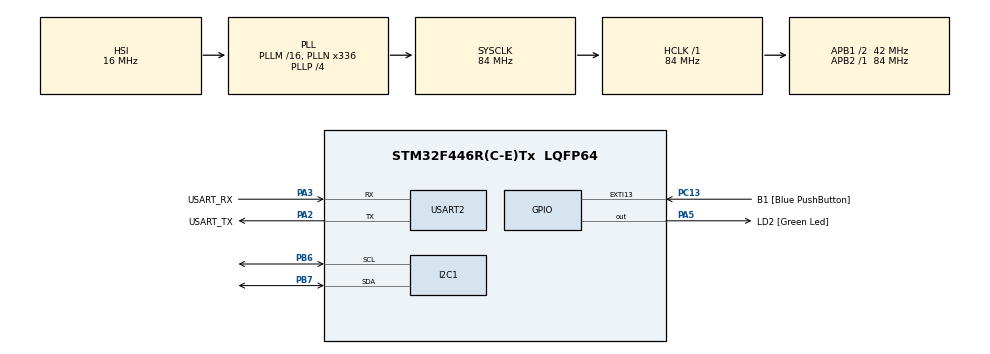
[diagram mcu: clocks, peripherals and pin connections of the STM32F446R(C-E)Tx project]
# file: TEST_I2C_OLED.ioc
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I2C1.I2C_Mode=I2C_Fast
Mcu.Family=STM32F4
Mcu.Name=STM32F446R(C-E)Tx
Mcu.Package=LQFP64
NVIC.PriorityGroup=NVIC_PRIORITYGROUP_0
PA13.GPIO_Label=TMS
PA13.Mode=Serial_Wire
PA13.Signal=SYS_JTMS-SWDIO
PA14.GPIO_Label=TCK
PA14.Mode=Serial_Wire
PA14.Signal=SYS_JTCK-SWCLK
PA2.GPIO_Label=USART_TX
PA2.Mode=Asynchronous
PA2.Signal=USART2_TX
PA3.GPIO_Label=USART_RX
PA3.Mode=Asynchronous
PA3.Signal=USART2_RX
PA5.GPIO_Label=LD2 [Green Led]
PA5.Signal=GPIO_Output
PB3.GPIO_Label=SWO
PB3.Signal=SYS_JTDO-SWO
PB6.Mode=I2C
PB6.Signal=I2C1_SCL
PB7.Mode=I2C
PB7.Signal=I2C1_SDA
PC13.GPIO_Label=B1 [Blue PushButton]
PC13.GPIO_ModeDefaultEXTI=GPIO_MODE_IT_FALLING
PC13.Signal=GPXTI13
PC14-OSC32_IN.Mode=LSE-External-Oscillator
PC14-OSC32_IN.Signal=RCC_OSC32_IN
PC15-OSC32_OUT.Mode=LSE-External-Oscillator
PC15-OSC32_OUT.Signal=RCC_OSC32_OUT
PH0-OSC_IN.Mode=HSE-External-Oscillator
PH0-OSC_IN.Signal=RCC_OSC_IN
PH1-OSC_OUT.Mode=HSE-External-Oscillator
PH1-OSC_OUT.Signal=RCC_OSC_OUT
ProjectManager.HeapSize=0x200
ProjectManager.StackSize=0x400
ProjectManager.TargetToolchain=STM32CubeIDE
RCC.48MHZClocksFreq_Value=84000000
RCC.AHBFreq_Value=84000000
RCC.APB1CLKDivider=RCC_HCLK_DIV2
RCC.APB1Freq_Value=42000000
RCC.APB1TimFreq_Value=84000000
RCC.APB2Freq_Value=84000000
RCC.APB2TimFreq_Value=84000000
RCC.CortexFreq_Value=84000000
RCC.FLatency-AdvancedSettings=FLASH_LATENCY_2
RCC.HCLKFreq_Value=84000000
RCC.HSE_VALUE=8000000
RCC.HSI_VALUE=16000000
RCC.PLLN=336
RCC.PLLP=RCC_PLLP_DIV4
RCC.SYSCLKFreq_VALUE=84000000
RCC.SYSCLKSource=RCC_SYSCLKSOURCE_PLLCLK
RCC.USBFreq_Value=168000000
RCC.VCOOutputFreq_Value=336000000
USART2.VirtualMode=VM_ASYNC
board=NUCLEO-F446RE

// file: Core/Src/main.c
/* USER CODE BEGIN Header */
/**
  ******************************************************************************
  * @file           : main.c
  * @brief          : Main program body
  ******************************************************************************
  * @attention
  *
  * Copyright (c) 2023 STMicroelectronics.
  * All rights reserved.
  *
  * This software is licensed under terms that can be found in the LICENSE file
  * in the root directory of this software component.
  * If no LICENSE file comes with this software, it is provided AS-IS.
  *
  ******************************************************************************
  */
/* USER CODE END Header */
#include "main.h"

/* USER CODE BEGIN Includes */
#include "fonts.h"
#include "ssd1306.h"
/* USER CODE END Includes */

I2C_HandleTypeDef hi2c1;

UART_HandleTypeDef huart2;

void SystemClock_Config(void);
static void MX_GPIO_Init(void);
static void MX_USART2_UART_Init(void);
static void MX_I2C1_Init(void);

int main(void)
{

  /* MCU Configuration--------------------------------------------------------*/

  /* Reset of all peripherals, Initializes the Flash interface and the Systick. */
  HAL_Init();

  /* Configure the system clock */
  SystemClock_Config();

  /* Initialize all configured peripherals */
  MX_GPIO_Init();
  MX_USART2_UART_Init();
  MX_I2C1_Init();
  /* USER CODE BEGIN 2 */
    SSD1306_Init();
	char snum[5];

	SSD1306_GotoXY (0,0);
	SSD1306_Puts ("ADC Value :", &Font_7x10, 1);
	SSD1306_GotoXY (95,0);
	SSD1306_Puts ("0567", &Font_7x10, 1);
	SSD1306_GotoXY (0, 15);
	SSD1306_Puts ("Led 1 ON ", &Font_7x10, 1);
	SSD1306_UpdateScreen();
	HAL_Delay (5000);
	SSD1306_Clear();
	SSD1306_DrawPixel(30, 30, 1);
	HAL_Delay (5000);

//	SSD1306_ScrollRight(0,30);
//	HAL_Delay(5000);
//	SSD1306_ScrollLeft(0,30);
//	HAL_Delay(5000);
//	SSD1306_Stopscroll();
//	HAL_Delay(5000);
//	SSD1306_Clear();
//	SSD1306_GotoXY (15,0);
//	SSD1306_Puts ("SCORE", &Font_16x26, 1);

  /* USER CODE END 2 */

  /* Infinite loop */
  /* USER CODE BEGIN WHILE */
  while (1)
  {

//	  for ( int x = 1; x <= 10000 ; x++ )
//	  	{
//	  		itoa(x, snum, 10);
//	  		SSD1306_GotoXY (0, 30);
//	  		SSD1306_Puts ("             ", &Font_16x26, 1);
//	  		SSD1306_UpdateScreen();
//	  		if(x < 10) {
//	  			SSD1306_GotoXY (53, 30);  // 1 DIGIT
//	  		}
//	  		else if (x < 100 ) {
//	  			SSD1306_GotoXY (45, 30);  // 2 DIGITS
//	  		}
//	  		else if (x < 1000 ) {
//	  			SSD1306_GotoXY (37, 30);  // 3 DIGITS
//	  		}
//	  		else {
//	  			SSD1306_GotoXY (30, 30);  // 4 DIGIS
//	  		}
//	  		SSD1306_Puts (snum, &Font_16x26, 1);
//	  		SSD1306_UpdateScreen();
//	  		HAL_Delay (500);
//	  	    }

    /* USER CODE END WHILE */

  }
}

void SystemClock_Config(void)
{
  RCC_OscInitTypeDef RCC_OscInitStruct = {0};
  RCC_ClkInitTypeDef RCC_ClkInitStruct = {0};

  /** Configure the main internal regulator output voltage
  */
  __HAL_RCC_PWR_CLK_ENABLE();
  __HAL_PWR_VOLTAGESCALING_CONFIG(PWR_REGULATOR_VOLTAGE_SCALE3);

  /** Initializes the RCC Oscillators according to the specified parameters
  * in the RCC_OscInitTypeDef structure.
  */
  RCC_OscInitStruct.OscillatorType = RCC_OSCILLATORTYPE_HSI;
  RCC_OscInitStruct.HSIState = RCC_HSI_ON;
  RCC_OscInitStruct.HSICalibrationValue = RCC_HSICALIBRATION_DEFAULT;
  RCC_OscInitStruct.PLL.PLLState = RCC_PLL_ON;
  RCC_OscInitStruct.PLL.PLLSource = RCC_PLLSOURCE_HSI;
  RCC_OscInitStruct.PLL.PLLM = 16;
  RCC_OscInitStruct.PLL.PLLN = 336;
  RCC_OscInitStruct.PLL.PLLP = RCC_PLLP_DIV4;
  RCC_OscInitStruct.PLL.PLLQ = 2;
  RCC_OscInitStruct.PLL.PLLR = 2;
  if (HAL_RCC_OscConfig(&RCC_OscInitStruct) != HAL_OK)
  {
    Error_Handler();
  }

  /** Initializes the CPU, AHB and APB buses clocks
  */
  RCC_ClkInitStruct.ClockType = RCC_CLOCKTYPE_HCLK|RCC_CLOCKTYPE_SYSCLK
                              |RCC_CLOCKTYPE_PCLK1|RCC_CLOCKTYPE_PCLK2;
  RCC_ClkInitStruct.SYSCLKSource = RCC_SYSCLKSOURCE_PLLCLK;
  RCC_ClkInitStruct.AHBCLKDivider = RCC_SYSCLK_DIV1;
  RCC_ClkInitStruct.APB1CLKDivider = RCC_HCLK_DIV2;
  RCC_ClkInitStruct.APB2CLKDivider = RCC_HCLK_DIV1;

  if (HAL_RCC_ClockConfig(&RCC_ClkInitStruct, FLASH_LATENCY_2) != HAL_OK)
  {
    Error_Handler();
  }
}

static void MX_I2C1_Init(void)
{

  hi2c1.Instance = I2C1;
  hi2c1.Init.ClockSpeed = 400000;
  hi2c1.Init.DutyCycle = I2C_DUTYCYCLE_2;
  hi2c1.Init.OwnAddress1 = 0;
  hi2c1.Init.AddressingMode = I2C_ADDRESSINGMODE_7BIT;
  hi2c1.Init.DualAddressMode = I2C_DUALADDRESS_DISABLE;
  hi2c1.Init.OwnAddress2 = 0;
  hi2c1.Init.GeneralCallMode = I2C_GENERALCALL_DISABLE;
  hi2c1.Init.NoStretchMode = I2C_NOSTRETCH_DISABLE;
  if (HAL_I2C_Init(&hi2c1) != HAL_OK)
  {
    Error_Handler();
  }

}

static void MX_USART2_UART_Init(void)
{

  huart2.Instance = USART2;
  huart2.Init.BaudRate = 115200;
  huart2.Init.WordLength = UART_WORDLENGTH_8B;
  huart2.Init.StopBits = UART_STOPBITS_1;
  huart2.Init.Parity = UART_PARITY_NONE;
  huart2.Init.Mode = UART_MODE_TX_RX;
  huart2.Init.HwFlowCtl = UART_HWCONTROL_NONE;
  huart2.Init.OverSampling = UART_OVERSAMPLING_16;
  if (HAL_UART_Init(&huart2) != HAL_OK)
  {
    Error_Handler();
  }

}

static void MX_GPIO_Init(void)
{
  GPIO_InitTypeDef GPIO_InitStruct = {0};

  /* GPIO Ports Clock Enable */
  __HAL_RCC_GPIOC_CLK_ENABLE();
  __HAL_RCC_GPIOH_CLK_ENABLE();
  __HAL_RCC_GPIOA_CLK_ENABLE();
  __HAL_RCC_GPIOB_CLK_ENABLE();

  /*Configure GPIO pin Output Level */
  HAL_GPIO_WritePin(LD2_GPIO_Port, LD2_Pin, GPIO_PIN_RESET);

  /*Configure GPIO pin : B1_Pin */
  GPIO_InitStruct.Pin = B1_Pin;
  GPIO_InitStruct.Mode = GPIO_MODE_IT_FALLING;
  GPIO_InitStruct.Pull = GPIO_NOPULL;
  HAL_GPIO_Init(B1_GPIO_Port, &GPIO_InitStruct);

  /*Configure GPIO pin : LD2_Pin */
  GPIO_InitStruct.Pin = LD2_Pin;
  GPIO_InitStruct.Mode = GPIO_MODE_OUTPUT_PP;
  GPIO_InitStruct.Pull = GPIO_NOPULL;
  GPIO_InitStruct.Speed = GPIO_SPEED_FREQ_LOW;
  HAL_GPIO_Init(LD2_GPIO_Port, &GPIO_InitStruct);

}

void Error_Handler(void)
{
  __disable_irq();
  while (1)
  {
  }
}
